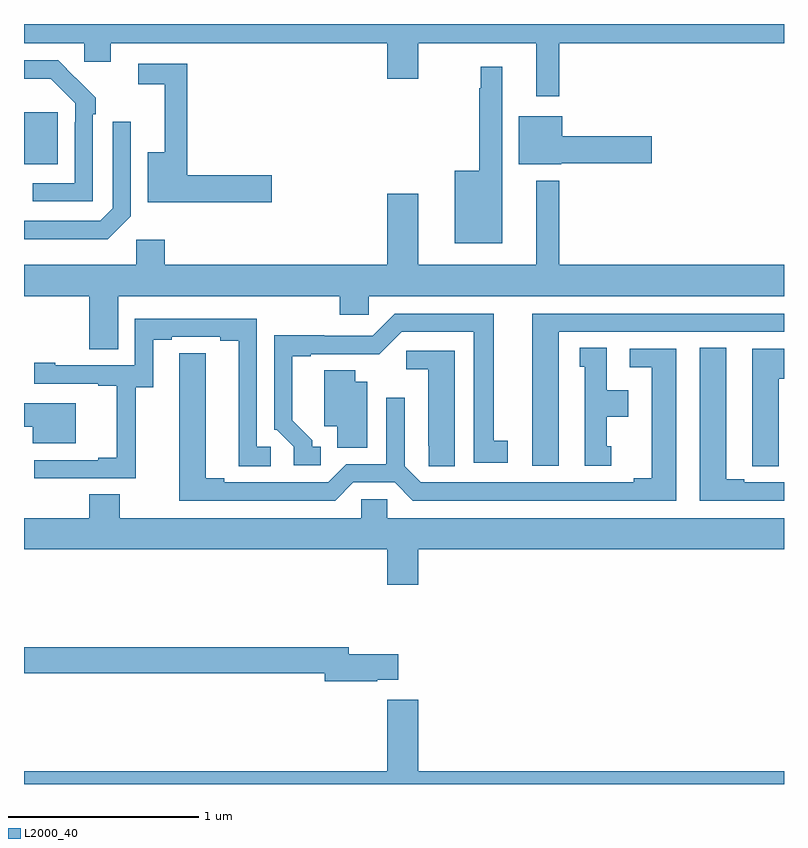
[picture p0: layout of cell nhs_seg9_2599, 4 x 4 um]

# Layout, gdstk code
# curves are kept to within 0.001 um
import gdstk
lib = gdstk.Library(unit=1e-6, precision=1e-09)
def R(c, l, rs):  # rectangles x0, y0, x1, y1
    for r in rs: c.add(gdstk.rectangle(r[:2], r[2:], *l))
def P(c, l, *ps):  # polygons
    for p in ps: c.add(gdstk.Polygon(p, *l))
L2000_40 = (2000, 40)

nhs_seg9_2599 = lib.new_cell('nhs_seg9_2599')
R(nhs_seg9_2599, L2000_40, [(259,1215.761,259.177,1216.036)])
P(nhs_seg9_2599, L2000_40, [(261.817,1216.4),(263,1216.4),(263,1216.5),(259,1216.5),(259,1216.4),(259.317,1216.4),(259.317,1216.302),(259.456,1216.302),(259.456,1216.4),(260.912,1216.4),(260.912,1216.212),(261.076,1216.212),(261.076,1216.4),(261.695,1216.4),(261.695,1216.119),(261.817,1216.119)],
  [(259.362,1216.025),(259.377,1216.025),(259.377,1216.113),(259.18,1216.308),(259,1216.308),(259,1216.212),(259.141,1216.212),(259.269,1216.083),(259.269,1215.983),(259.266,1215.983),(259.266,1215.663),(259.047,1215.663),(259.047,1215.567),(259.362,1215.567)],
  [(260.305,1215.704),(259.859,1215.704),(259.859,1216.29),(259.602,1216.29),(259.602,1216.182),(259.742,1216.182),(259.742,1215.826),(259.652,1215.826),(259.652,1215.562),(260.305,1215.562)],
  [(261.517,1216.276),(261.403,1216.276),(261.403,1216.163),(261.396,1216.163),(261.396,1215.727),(261.266,1215.727),(261.266,1215.347),(261.517,1215.347)],
  [(261.828,1215.767),(262.303,1215.767),(262.303,1215.909),(261.832,1215.909),(261.832,1216.015),(261.605,1216.015),(261.605,1215.761),(261.828,1215.761)],
  [(259.563,1215.489),(259.563,1215.985),(259.467,1215.985),(259.467,1215.531),(259.401,1215.465),(259,1215.465),(259,1215.368),(259.442,1215.368)],
  [(259.495,1215.068),(260.663,1215.068),(260.663,1214.97),(260.814,1214.97),(260.814,1215.068),(263,1215.068),(263,1215.232),(261.817,1215.232),(261.817,1215.676),(261.695,1215.676),(261.695,1215.232),(261.076,1215.232),(261.076,1215.607),(260.912,1215.607),(260.912,1215.232),(259.742,1215.232),(259.742,1215.364),(259.59,1215.364),(259.59,1215.232),(259,1215.232),(259,1215.068),(259.343,1215.068),(259.343,1214.788),(259.495,1214.788)],
  [(260.563,1214.274),(260.518,1214.274),(260.518,1214.309),(260.413,1214.414),(260.413,1214.751),(260.509,1214.751),(260.509,1214.763),(260.87,1214.762),(260.988,1214.88),(261.368,1214.88),(261.368,1214.19),(261.547,1214.19),(261.547,1214.306),(261.472,1214.306),(261.472,1214.976),(260.952,1214.976),(260.835,1214.859),(260.579,1214.859),(260.579,1214.861),(260.316,1214.861),(260.316,1214.364),(260.331,1214.364),(260.421,1214.274),(260.421,1214.178),(260.563,1214.178)],
  [(261.814,1214.88),(263,1214.88),(263,1214.976),(261.674,1214.976),(261.674,1214.175),(261.814,1214.175)],
  [(259.587,1214.587),(259.681,1214.587),(259.681,1214.838),(259.777,1214.838),(259.777,1214.853),(260.033,1214.853),(260.033,1214.833),(260.129,1214.833),(260.129,1214.173),(260.299,1214.173),(260.299,1214.274),(260.226,1214.274),(260.226,1214.949),(259.584,1214.949),(259.584,1214.703),(259.165,1214.703),(259.165,1214.716),(259.053,1214.716),(259.053,1214.607),(259.391,1214.607),(259.391,1214.595),(259.487,1214.595),(259.487,1214.218),(259.391,1214.218),(259.391,1214.205),(259.053,1214.205),(259.053,1214.109),(259.587,1214.109)],
  [(262.09,1214.277),(262.066,1214.277),(262.066,1214.432),(262.18,1214.432),(262.18,1214.572),(262.066,1214.572),(262.066,1214.795),(261.926,1214.795),(261.926,1214.697),(261.95,1214.697),(261.95,1214.175),(262.09,1214.175)],
  [(263,1214.088),(262.792,1214.088),(262.792,1214.103),(262.696,1214.103),(262.696,1214.795),(262.556,1214.795),(262.556,1213.992),(263,1213.992)],
  [(262.972,1214.632),(263,1214.632),(263,1214.791),(262.832,1214.791),(262.832,1214.281),(262.833,1214.281),(262.833,1214.173),(262.972,1214.173)],
  [(260.733,1214.088),(260.951,1214.088),(261.047,1213.992),(262.432,1213.992),(262.432,1214.79),(262.188,1214.79),(262.188,1214.694),(262.304,1214.694),(262.304,1214.108),(262.208,1214.108),(262.208,1214.088),(261.087,1214.088),(261.003,1214.172),(261.003,1214.533),(260.907,1214.533),(260.907,1214.184),(260.697,1214.184),(260.601,1214.088),(260.053,1214.088),(260.053,1214.108),(259.957,1214.108),(259.957,1214.768),(259.818,1214.768),(259.817,1213.992),(260.637,1213.992)],
  [(261.268,1214.781),(261.012,1214.781),(261.012,1214.684),(261.128,1214.684),(261.128,1214.281),(261.129,1214.281),(261.129,1214.173),(261.268,1214.173)],
  [(260.806,1214.617),(260.743,1214.617),(260.743,1214.678),(260.579,1214.678),(260.579,1214.384),(260.648,1214.384),(260.648,1214.269),(260.806,1214.269)],
  [(259.273,1214.503),(259,1214.503),(259,1214.381),(259.046,1214.381),(259.046,1214.294),(259.273,1214.294)],
  [(261.076,1213.736),(263,1213.736),(263,1213.9),(260.913,1213.9),(260.913,1213.998),(260.775,1213.998),(260.775,1213.9),(259.503,1213.9),(259.503,1214.024),(259.343,1214.024),(259.343,1213.9),(259,1213.9),(259,1213.736),(260.912,1213.736),(260.912,1213.548),(261.076,1213.548)],
  [(260.858,1213.049),(260.971,1213.049),(260.971,1213.184),(260.71,1213.184),(260.71,1213.22),(259,1213.22),(259,1213.084),(260.582,1213.084),(260.582,1213.042),(260.858,1213.042)],
  [(263,1212.568),(261.076,1212.568),(261.076,1212.943),(260.912,1212.943),(260.912,1212.568),(259,1212.568),(259,1212.5),(263,1212.5)])

lib.write_gds('nhs_seg9_2599.gds')
